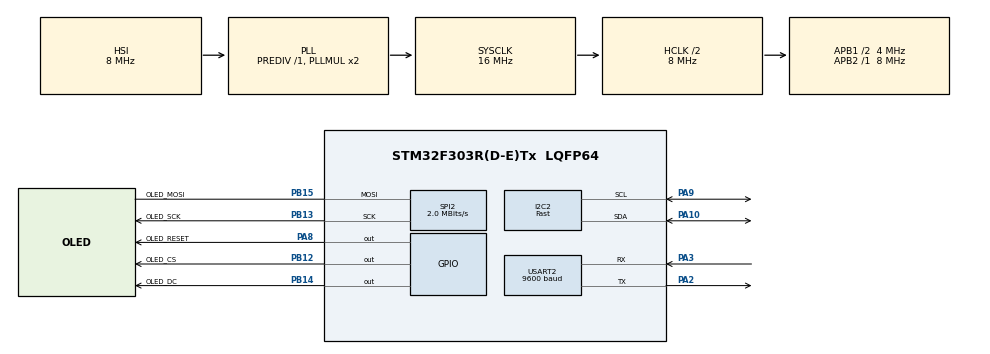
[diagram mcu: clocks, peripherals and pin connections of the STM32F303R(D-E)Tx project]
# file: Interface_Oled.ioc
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Dma.I2C2_TX.3.Direction=DMA_MEMORY_TO_PERIPH
Dma.I2C2_TX.3.Instance=DMA1_Channel4
Dma.I2C2_TX.3.MemDataAlignment=DMA_MDATAALIGN_BYTE
Dma.I2C2_TX.3.MemInc=DMA_MINC_ENABLE
Dma.I2C2_TX.3.Mode=DMA_NORMAL
Dma.I2C2_TX.3.PeriphDataAlignment=DMA_PDATAALIGN_BYTE
Dma.I2C2_TX.3.PeriphInc=DMA_PINC_DISABLE
Dma.I2C2_TX.3.Priority=DMA_PRIORITY_LOW
Dma.Request0=SPI2_TX
Dma.Request1=USART2_RX
Dma.Request2=USART2_TX
Dma.Request3=I2C2_TX
Dma.SPI2_TX.0.Direction=DMA_MEMORY_TO_PERIPH
Dma.SPI2_TX.0.Instance=DMA1_Channel5
Dma.SPI2_TX.0.MemDataAlignment=DMA_MDATAALIGN_BYTE
Dma.SPI2_TX.0.MemInc=DMA_MINC_ENABLE
Dma.SPI2_TX.0.Mode=DMA_NORMAL
Dma.SPI2_TX.0.PeriphDataAlignment=DMA_PDATAALIGN_BYTE
Dma.SPI2_TX.0.PeriphInc=DMA_PINC_DISABLE
Dma.SPI2_TX.0.Priority=DMA_PRIORITY_LOW
Dma.USART2_RX.1.Direction=DMA_PERIPH_TO_MEMORY
Dma.USART2_RX.1.Instance=DMA1_Channel6
Dma.USART2_RX.1.MemDataAlignment=DMA_MDATAALIGN_BYTE
Dma.USART2_RX.1.MemInc=DMA_MINC_ENABLE
Dma.USART2_RX.1.Mode=DMA_NORMAL
Dma.USART2_RX.1.PeriphDataAlignment=DMA_PDATAALIGN_BYTE
Dma.USART2_RX.1.PeriphInc=DMA_PINC_DISABLE
Dma.USART2_RX.1.Priority=DMA_PRIORITY_LOW
Dma.USART2_TX.2.Direction=DMA_MEMORY_TO_PERIPH
Dma.USART2_TX.2.Instance=DMA1_Channel7
Dma.USART2_TX.2.MemDataAlignment=DMA_MDATAALIGN_BYTE
Dma.USART2_TX.2.MemInc=DMA_MINC_ENABLE
Dma.USART2_TX.2.Mode=DMA_NORMAL
Dma.USART2_TX.2.PeriphDataAlignment=DMA_PDATAALIGN_BYTE
Dma.USART2_TX.2.PeriphInc=DMA_PINC_DISABLE
Dma.USART2_TX.2.Priority=DMA_PRIORITY_LOW
FREERTOS.Tasks01=defaultTask,0,128,StartDefaultTask,Default,NULL,Dynamic,NULL,NULL;myTask02oledTas,-3,128,StartOledTask,Default,NULL,Dynamic,NULL,NULL;interfaceTask,-3,128,StartInterfaceTask,Default,NULL,Dynamic,NULL,NULL
I2C2.I2C_Speed_Mode=I2C_Fast
I2C2.Timing=0x0000020B
Mcu.Family=STM32F3
Mcu.Name=STM32F303R(D-E)Tx
Mcu.Package=LQFP64
NVIC.DMA1_Channel4_IRQn=true\:5\:0\:false\:false\:true\:true\:false\:true
NVIC.DMA1_Channel5_IRQn=true\:5\:0\:false\:false\:true\:true\:false\:true
NVIC.DMA1_Channel6_IRQn=true\:5\:0\:false\:false\:true\:true\:false\:true
NVIC.DMA1_Channel7_IRQn=true\:5\:0\:false\:false\:true\:true\:false\:true
NVIC.I2C2_EV_IRQn=true\:5\:0\:false\:false\:true\:true\:true\:true
NVIC.PriorityGroup=NVIC_PRIORITYGROUP_4
NVIC.SPI2_IRQn=true\:5\:0\:false\:false\:true\:true\:true\:true
NVIC.TIM1_UP_TIM16_IRQn=true\:5\:0\:false\:false\:true\:true\:true\:true
NVIC.TIM6_DAC_IRQn=true\:0\:0\:false\:false\:true\:false\:false\:true
NVIC.TimeBase=TIM6_DAC_IRQn
NVIC.TimeBaseIP=TIM6
NVIC.USART2_IRQn=true\:5\:0\:false\:false\:true\:true\:true\:true
PA10.Mode=I2C
PA10.Signal=I2C2_SDA
PA2.Mode=Asynchronous
PA2.Signal=USART2_TX
PA3.Mode=Asynchronous
PA3.Signal=USART2_RX
PA8.GPIO_Label=OLED_RESET
PA8.Signal=GPIO_Output
PA9.Mode=I2C
PA9.Signal=I2C2_SCL
PB12.GPIO_Label=OLED_CS
PB12.Signal=GPIO_Output
PB13.GPIO_Label=OLED_SCK
PB13.Mode=Simplex_Bidirectional_Master
PB13.Signal=SPI2_SCK
PB14.GPIO_Label=OLED_DC
PB14.Signal=GPIO_Output
PB15.GPIO_Label=OLED_MOSI
PB15.Mode=Simplex_Bidirectional_Master
PB15.Signal=SPI2_MOSI
ProjectManager.HeapSize=0x200
ProjectManager.StackSize=0x400
ProjectManager.TargetToolchain=TrueSTUDIO
RCC.AHBCLKDivider=RCC_SYSCLK_DIV2
RCC.AHBFreq_Value=8000000
RCC.APB1CLKDivider=RCC_HCLK_DIV2
RCC.APB1Freq_Value=4000000
RCC.APB1TimFreq_Value=8000000
RCC.APB2Freq_Value=8000000
RCC.APB2TimFreq_Value=8000000
RCC.CortexFreq_Value=8000000
RCC.HCLKFreq_Value=8000000
RCC.HSE_VALUE=8000000
RCC.HSI_VALUE=8000000
RCC.LSE_VALUE=32768
RCC.SYSCLKFreq_VALUE=16000000
RCC.SYSCLKSourceVirtual=RCC_SYSCLKSOURCE_PLLCLK
RCC.USBFreq_Value=16000000
SPI2.CalculateBaudRate=2.0 MBits/s
SPI2.DataSize=SPI_DATASIZE_8BIT
SPI2.Direction=SPI_DIRECTION_1LINE
SPI2.Mode=SPI_MODE_MASTER
SPI2.VirtualType=VM_MASTER
TIM16.Period=99
TIM16.Prescaler=7999
USART2.BaudRate=9600
USART2.VirtualMode-Asynchronous=VM_ASYNC
VP_FREERTOS_VS_CMSIS_V1.Mode=CMSIS_V1
VP_SYS_VS_tim6.Mode=TIM6
VP_TIM16_VS_ClockSourceINT.Mode=Enable_Timer
board=custom

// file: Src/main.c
/* USER CODE BEGIN Header */
/**
  ******************************************************************************
  * @file           : main.c
  * @brief          : Main program body
  ******************************************************************************
  * @attention
  *
  * <h2><center>&copy; Copyright (c) 2020 STMicroelectronics.
  * All rights reserved.</center></h2>
  *
  * This software component is licensed by ST under BSD 3-Clause license,
  * the "License"; You may not use this file except in compliance with the
  * License. You may obtain a copy of the License at:
  *                        opensource.org/licenses/BSD-3-Clause
  *
  ******************************************************************************
  */
/* USER CODE END Header */

#include "main.h"
#include "cmsis_os.h"
#include "dma.h"
#include "i2c.h"
#include "spi.h"
#include "tim.h"
#include "usart.h"
#include "gpio.h"

/* USER CODE BEGIN Includes */
#include "SSD1306.h"
#include "Interface_manager.h"
#include "Buffer.h"
/* USER CODE END Includes */

/* USER CODE BEGIN PV */
SSD1306* oled;
SSD1306* oled2;
/* USER CODE END PV */

void SystemClock_Config(void);
void MX_FREERTOS_Init(void);
/* USER CODE BEGIN PFP */

void HAL_SPI_TxCpltCallback(SPI_HandleTypeDef *hspi){
	oled->SPI_Interrupt_DMA();
};
void HAL_I2C_MemTxCpltCallback(I2C_HandleTypeDef *hi2c)  {
	oled2->SPI_Interrupt_DMA();
}
/* USER CODE END PFP */

int main(void)
{
  /* USER CODE BEGIN 1 */
	SSD1306::gpio_struct  gpio_reset;
	gpio_reset.port = OLED_RESET_GPIO_Port;
	gpio_reset.pin= OLED_RESET_Pin;

	SSD1306::gpio_struct gpio_dc;
	gpio_dc.port = OLED_DC_GPIO_Port;
	gpio_dc.pin = OLED_DC_Pin;

	SSD1306::gpio_struct gpio_cs;
	gpio_cs.port = OLED_CS_GPIO_Port;
	gpio_cs.pin = OLED_CS_Pin;

	oled = new SSD1306(&hspi2, gpio_reset, gpio_dc, gpio_cs);
	oled2 = new SSD1306(&hi2c2, 0x3C<<1);
  /* USER CODE END 1 */

  /* MCU Configuration--------------------------------------------------------*/

  /* Reset of all peripherals, Initializes the Flash interface and the Systick. */
  HAL_Init();

  /* Configure the system clock */
  SystemClock_Config();

  /* Initialize all configured peripherals */
  MX_GPIO_Init();
  MX_DMA_Init();
  MX_SPI2_Init();
  MX_USART2_UART_Init();
  MX_I2C2_Init();
  MX_TIM16_Init();
  /* USER CODE BEGIN 2 */
  oled->ChangeDMA(SET_ON);
  oled->Init();
  oled->Fill(Black);
  HAL_Delay(5);
  oled->WriteString("HELLO", Font11x18, White, 2, 10);
  oled2->ChangeDMA(SET_ON);
  oled2->Init();
  oled2->Fill(Black);
  oled2->WriteString("HELLO2", Font11x18, White, 2, 10);
  HAL_Delay(1000);
  uint8_t i=0;
  /* USER CODE END 2 */

  /* Call init function for freertos objects (in freertos.c) */
  MX_FREERTOS_Init();

  /* Start scheduler */
  osKernelStart();

  /* We should never get here as control is now taken by the scheduler */

  /* Infinite loop */
  /* USER CODE BEGIN WHILE */
  while (1)
  {
	  oled->Fill(Black);
	  oled->WriteString("USED SPI", Font11x18, White, 2, i-40);
	  oled->WriteString("TEST", Font7x10, White, 10, i-20);
	  oled->WriteString("SSD1306", Font6x8, White, 2, i);

	  oled2->Fill(Black);
	  oled2->WriteString("USED I2C", Font11x18, White, 2, i-40);
	  oled2->WriteString("TEST", Font7x10, White, 10, i-20);
	  oled2->WriteString("SSD1306", Font6x8, White, 2, i);
	  i++;
	  if (i>80){
		  i=0;
		  HAL_Delay(300);
	  }
	  HAL_Delay(20);
    /* USER CODE END WHILE */

  }
}

void SystemClock_Config(void)
{
  RCC_OscInitTypeDef RCC_OscInitStruct = {0};
  RCC_ClkInitTypeDef RCC_ClkInitStruct = {0};
  RCC_PeriphCLKInitTypeDef PeriphClkInit = {0};

  /** Initializes the CPU, AHB and APB busses clocks
  */
  RCC_OscInitStruct.OscillatorType = RCC_OSCILLATORTYPE_HSI;
  RCC_OscInitStruct.HSIState = RCC_HSI_ON;
  RCC_OscInitStruct.HSICalibrationValue = RCC_HSICALIBRATION_DEFAULT;
  RCC_OscInitStruct.PLL.PLLState = RCC_PLL_ON;
  RCC_OscInitStruct.PLL.PLLSource = RCC_PLLSOURCE_HSI;
  RCC_OscInitStruct.PLL.PLLMUL = RCC_PLL_MUL2;
  RCC_OscInitStruct.PLL.PREDIV = RCC_PREDIV_DIV1;
  if (HAL_RCC_OscConfig(&RCC_OscInitStruct) != HAL_OK)
  {
    Error_Handler();
  }
  /** Initializes the CPU, AHB and APB busses clocks
  */
  RCC_ClkInitStruct.ClockType = RCC_CLOCKTYPE_HCLK|RCC_CLOCKTYPE_SYSCLK
                              |RCC_CLOCKTYPE_PCLK1|RCC_CLOCKTYPE_PCLK2;
  RCC_ClkInitStruct.SYSCLKSource = RCC_SYSCLKSOURCE_PLLCLK;
  RCC_ClkInitStruct.AHBCLKDivider = RCC_SYSCLK_DIV2;
  RCC_ClkInitStruct.APB1CLKDivider = RCC_HCLK_DIV2;
  RCC_ClkInitStruct.APB2CLKDivider = RCC_HCLK_DIV1;

  if (HAL_RCC_ClockConfig(&RCC_ClkInitStruct, FLASH_LATENCY_0) != HAL_OK)
  {
    Error_Handler();
  }
  PeriphClkInit.PeriphClockSelection = RCC_PERIPHCLK_USART2|RCC_PERIPHCLK_I2C2
                              |RCC_PERIPHCLK_TIM16;
  PeriphClkInit.Usart2ClockSelection = RCC_USART2CLKSOURCE_PCLK1;
  PeriphClkInit.I2c2ClockSelection = RCC_I2C2CLKSOURCE_HSI;
  PeriphClkInit.Tim16ClockSelection = RCC_TIM16CLK_HCLK;
  if (HAL_RCCEx_PeriphCLKConfig(&PeriphClkInit) != HAL_OK)
  {
    Error_Handler();
  }
}

void HAL_TIM_PeriodElapsedCallback(TIM_HandleTypeDef *htim)
{
  if (htim->Instance == TIM6) {
    HAL_IncTick();
  }
}

void Error_Handler(void)
{
}

/************************ (C) COPYRIGHT STMicroelectronics *****END OF FILE****/
